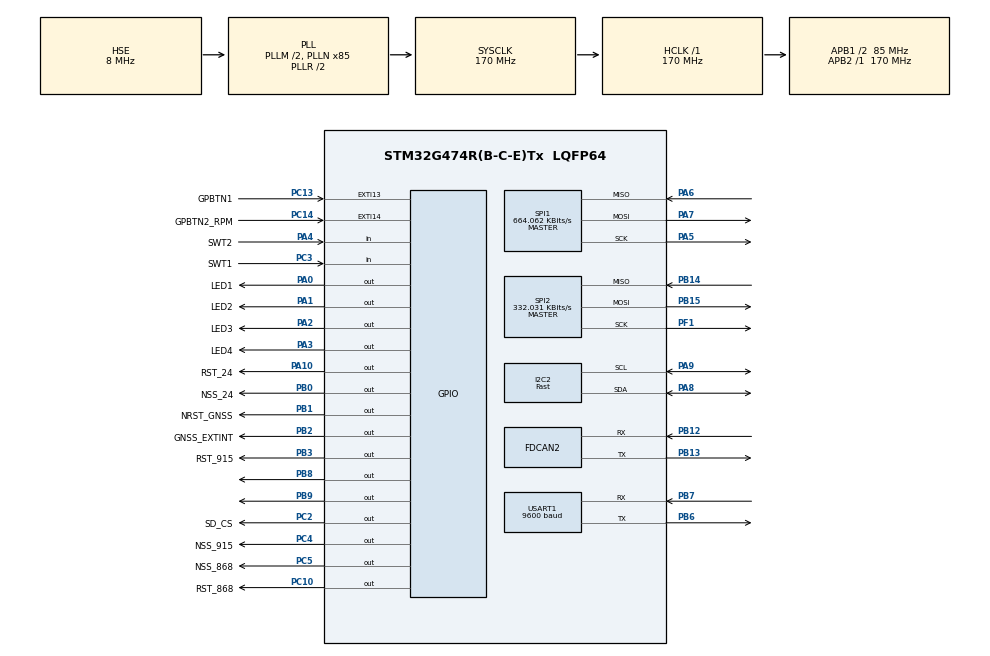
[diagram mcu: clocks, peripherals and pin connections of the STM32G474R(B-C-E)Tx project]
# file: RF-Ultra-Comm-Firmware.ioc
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FDCAN2.CalculateBaudRateNominal=1000000
FDCAN2.CalculateTimeBitNominal=1000
FDCAN2.CalculateTimeQuantumNominal=125.0
FDCAN2.DataTimeSeg2=2
FDCAN2.FrameFormat=FDCAN_FRAME_CLASSIC
FDCAN2.Mode=FDCAN_MODE_NORMAL
FDCAN2.NominalPrescaler=1
FDCAN2.NominalSyncJumpWidth=2
FDCAN2.NominalTimeSeg1=5
FDCAN2.NominalTimeSeg2=2
FDCAN2.StdFiltersNbr=1
FREERTOS.Queues01=canQueRxHeader,512,uint32_t,0,Static,canQueRxHeaderBuffer,canQueRxHeaderControlBlock;canQueRxData,1024,uint8_t,0,Static,canQueRxDataBuffer,canQueRxDataControlBlock
FREERTOS.Tasks01=defaultTask,24,512,StartDefaultTask,As weak,NULL,Static,defaultTaskBuffer,defaultTaskControlBlock;telemetryTransm,25,2048,StartTelemetryTransmitTask,As weak,NULL,Static,telemetryTransmBuffer,telemetryTransmControlBlock;auxilary,8,1024,StartAuxilaryTask,As weak,NULL,Static,auxilaryBuffer,auxilaryControlBlock;CANSend,27,512,StartCanSend,As weak,NULL,Static,CANSendBuffer,CANSendControlBlock;CANReceive,32,512,StartCanReceive,As weak,NULL,Static,CANReceiveBuffer,CANReceiveControlBlock
FREERTOS.configENABLE_FPU=1
FREERTOS.configTOTAL_HEAP_SIZE=10000
I2C2.I2C_Speed_Mode=I2C_Fast
I2C2.Speed=100
I2C2.Timing=0x108199FF
Mcu.Family=STM32G4
Mcu.Name=STM32G474R(B-C-E)Tx
Mcu.Package=LQFP64
NVIC.EXTI15_10_IRQn=true\:5\:0\:false\:false\:true\:true\:true\:true\:true
NVIC.FDCAN2_IT0_IRQn=true\:5\:0\:false\:false\:true\:true\:true\:true\:true
NVIC.FDCAN2_IT1_IRQn=true\:5\:0\:false\:false\:true\:true\:true\:true\:true
NVIC.PriorityGroup=NVIC_PRIORITYGROUP_4
NVIC.TIM20_UP_IRQn=true\:15\:0\:false\:false\:true\:false\:false\:true\:true
NVIC.TimeBase=TIM20_UP_IRQn
NVIC.TimeBaseIP=TIM20
PA0.GPIO_Label=LED1
PA0.Signal=GPIO_Output
PA1.GPIO_Label=LED2
PA1.Signal=GPIO_Output
PA10.GPIO_Label=RST_24
PA10.Signal=GPIO_Output
PA13.Mode=Serial_Wire
PA13.Signal=SYS_JTMS-SWDIO
PA14.Mode=Serial_Wire
PA14.Signal=SYS_JTCK-SWCLK
PA2.GPIO_Label=LED3
PA2.Signal=GPIO_Output
PA3.GPIO_Label=LED4
PA3.Signal=GPIO_Output
PA4.GPIO_Label=SWT2
PA4.GPIO_PuPd=GPIO_PULLDOWN
PA4.Signal=GPIO_Input
PA5.Mode=Full_Duplex_Master
PA5.Signal=SPI1_SCK
PA6.Mode=Full_Duplex_Master
PA6.Signal=SPI1_MISO
PA7.Mode=Full_Duplex_Master
PA7.Signal=SPI1_MOSI
PA8.GPIO_Pu=GPIO_PULLUP
PA8.GPIO_Speed=GPIO_SPEED_FREQ_HIGH
PA8.Mode=I2C
PA8.Signal=I2C2_SDA
PA9.GPIO_Pu=GPIO_PULLUP
PA9.GPIO_Speed=GPIO_SPEED_FREQ_HIGH
PA9.Mode=I2C
PA9.Signal=I2C2_SCL
PB0.GPIO_Label=NSS_24
PB0.Signal=GPIO_Output
PB1.GPIO_Label=NRST_GNSS
PB1.Signal=GPIO_Output
PB12.GPIO_PuPd=GPIO_PULLUP
PB12.Mode=FDCAN_Activate
PB12.Signal=FDCAN2_RX
PB13.Mode=FDCAN_Activate
PB13.Signal=FDCAN2_TX
PB14.GPIO_PuPd=GPIO_PULLUP
PB14.GPIO_Speed=GPIO_SPEED_FREQ_VERY_HIGH
PB14.Mode=Full_Duplex_Master
PB14.Signal=SPI2_MISO
PB15.GPIO_PuPd=GPIO_PULLUP
PB15.GPIO_Speed=GPIO_SPEED_FREQ_VERY_HIGH
PB15.Mode=Full_Duplex_Master
PB15.Signal=SPI2_MOSI
PB2.GPIO_Label=GNSS_EXTINT
PB2.Signal=GPIO_Output
PB3.GPIO_Label=RST_915
PB3.Signal=GPIO_Output
PB6.Mode=Asynchronous
PB6.Signal=USART1_TX
PB7.Mode=Asynchronous
PB7.Signal=USART1_RX
PB8-BOOT0.Signal=GPIO_Output
PB9.Signal=GPIO_Output
PC10.GPIO_Label=RST_868
PC10.Signal=GPIO_Output
PC13.GPIO_Label=GPBTN1
PC13.GPIO_ModeDefaultEXTI=GPIO_MODE_IT_FALLING
PC13.GPIO_PuPd=GPIO_PULLUP
PC13.Signal=GPXTI13
PC14-OSC32_IN.GPIO_Label=GPBTN2_RPM
PC14-OSC32_IN.GPIO_ModeDefaultEXTI=GPIO_MODE_IT_RISING_FALLING
PC14-OSC32_IN.GPIO_PuPd=GPIO_NOPULL
PC14-OSC32_IN.Signal=GPXTI14
PC2.GPIO_Label=SD_CS
PC2.GPIO_PuPd=GPIO_PULLUP
PC2.PinState=GPIO_PIN_SET
PC2.Signal=GPIO_Output
PC3.GPIO_Label=SWT1
PC3.GPIO_PuPd=GPIO_PULLDOWN
PC3.Signal=GPIO_Input
PC4.GPIO_Label=NSS_915
PC4.Signal=GPIO_Output
PC5.GPIO_Label=NSS_868
PC5.Signal=GPIO_Output
PF0-OSC_IN.Mode=HSE-External-Clock-Source
PF0-OSC_IN.Signal=RCC_OSC_IN
PF1-OSC_OUT.GPIO_PuPd=GPIO_PULLUP
PF1-OSC_OUT.GPIO_Speed=GPIO_SPEED_FREQ_VERY_HIGH
PF1-OSC_OUT.Mode=Full_Duplex_Master
PF1-OSC_OUT.Signal=SPI2_SCK
ProjectManager.HeapSize=0x200
ProjectManager.StackSize=0x400
ProjectManager.TargetToolchain=STM32CubeIDE
RCC.ADC12Freq_Value=170000000
RCC.ADC345Freq_Value=170000000
RCC.AHBFreq_Value=170000000
RCC.APB1CLKDivider=RCC_HCLK_DIV2
RCC.APB1Freq_Value=85000000
RCC.APB1TimFreq_Value=170000000
RCC.APB2Freq_Value=170000000
RCC.APB2TimFreq_Value=170000000
RCC.CortexFreq_Value=170000000
RCC.EXTERNAL_CLOCK_VALUE=12288000
RCC.FDCANCLockSelection=RCC_FDCANCLKSOURCE_HSE
RCC.HCLKFreq_Value=170000000
RCC.HSE_VALUE=8000000
RCC.HSI48_VALUE=48000000
RCC.HSI_VALUE=16000000
RCC.LSE_VALUE=32768
RCC.PLLM=RCC_PLLM_DIV2
RCC.PLLN=85
RCC.PLLSourceVirtual=RCC_PLLSOURCE_HSE
RCC.SYSCLKFreq_VALUE=170000000
RCC.SYSCLKSource=RCC_SYSCLKSOURCE_PLLCLK
RCC.USBFreq_Value=170000000
RCC.VCOOutputFreq_Value=340000000
SPI1.BaudRatePrescaler=SPI_BAUDRATEPRESCALER_256
SPI1.CalculateBaudRate=664.062 KBits/s
SPI1.DataSize=SPI_DATASIZE_8BIT
SPI1.Direction=SPI_DIRECTION_2LINES
SPI1.Mode=SPI_MODE_MASTER
SPI1.VirtualType=VM_MASTER
SPI2.BaudRatePrescaler=SPI_BAUDRATEPRESCALER_256
SPI2.CalculateBaudRate=332.031 KBits/s
SPI2.DataSize=SPI_DATASIZE_8BIT
SPI2.Direction=SPI_DIRECTION_2LINES
SPI2.Mode=SPI_MODE_MASTER
SPI2.VirtualType=VM_MASTER
USART1.AutoBaudRateEnableParam=UART_ADVFEATURE_AUTOBAUDRATE_DISABLE
USART1.BaudRate=9600
USART1.DMADisableonRxErrorParam=ADVFEATURE_DMA_DISABLEONRXERROR
USART1.FIFOMode=FIFOMODE_ENABLE
USART1.Mode=MODE_TX_RX
USART1.OverrunDisableParam=ADVFEATURE_OVERRUN_DISABLE
USART1.SwapParam=ADVFEATURE_SWAP_DISABLE
USART1.VirtualMode-Asynchronous=VM_ASYNC
VP_CRC_VS_CRC.Mode=CRC_Activate
VP_FATFS_VS_Generic.Mode=User_defined
VP_FREERTOS_VS_CMSIS_V2.Mode=CMSIS_V2
VP_SYS_VS_DBSignals.Mode=DisableDeadBatterySignals
VP_SYS_VS_tim20.Mode=TIM20
board=custom

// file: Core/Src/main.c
/* USER CODE BEGIN Header */
/**
 ******************************************************************************
 * @file           : main.c
 * @brief          : Main program body
 ******************************************************************************
 * @attention
 *
 * Copyright (c) 2025 STMicroelectronics.
 * All rights reserved.
 *
 * This software is licensed under terms that can be found in the LICENSE file
 * in the root directory of this software component.
 * If no LICENSE file comes with this software, it is provided AS-IS.
 *
 ******************************************************************************
 */
/* USER CODE END Header */
#include "main.h"
#include "cmsis_os.h"
#include "crc.h"
#include "app_fatfs.h"
#include "fdcan.h"
#include "i2c.h"
#include "spi.h"
#include "usart.h"
#include "gpio.h"

/* USER CODE BEGIN PD */
#define MAGNETS_ON_WHEEL 4
/* USER CODE END PD */

/* USER CODE BEGIN PV */
extern wheel_rpm;
/* USER CODE END PV */

void SystemClock_Config(void);
void MX_FREERTOS_Init(void);
/* USER CODE BEGIN PFP */
void HAL_GPIO_EXTI_Callback(uint16_t GPIO_Pin) {

	switch (GPIO_Pin) {
	case GPBTN2_RPM_Pin:
		static double uptime = 0, downtime = 0, frequency = 0, period = 0;
		static double rise1 = 0, fall1 = 0;
		if (GPIO_PIN_SET
				== HAL_GPIO_ReadPin(GPBTN2_RPM_GPIO_Port, GPBTN2_RPM_Pin)) {
			rise1 = HAL_GetTick();
			downtime = fall1 - rise1;
		} else {
			fall1 = HAL_GetTick();
			uptime = rise1 - fall1;
		}

		period = uptime + downtime;
		frequency = 1 / period;

		wheel_rpm = frequency / MAGNETS_ON_WHEEL * 60;

		break;
	case GPBTN1_Pin:
		NVIC_SystemReset();
		break;
	default:
		break;
	}

}
/* USER CODE END PFP */

/* USER CODE BEGIN 0 */
int _write(int fd, char *ptr, int len) {
	(void) fd;
	HAL_UART_Transmit(&huart1, ptr, len, HAL_MAX_DELAY);
	return len;
}
//void __io_putchar(int ch) {
//	HAL_UART_Transmit(&huart1, (uint8_t*) &ch, 1, 0);
//}

/* USER CODE END 0 */

int main(void)
{

  /* MCU Configuration--------------------------------------------------------*/

  /* Reset of all peripherals, Initializes the Flash interface and the Systick. */
  HAL_Init();

  /* Configure the system clock */
  SystemClock_Config();

  /* Initialize all configured peripherals */
  MX_GPIO_Init();
  MX_FDCAN2_Init();
  MX_I2C2_Init();
  MX_SPI1_Init();
  MX_SPI2_Init();
  MX_USART1_UART_Init();
  if (MX_FATFS_Init() != APP_OK) {
    Error_Handler();
  }
  MX_CRC_Init();

  /* Init scheduler */
  osKernelInitialize();  /* Call init function for freertos objects (in cmsis_os2.c) */
  MX_FREERTOS_Init();

  /* Start scheduler */
  osKernelStart();

  /* We should never get here as control is now taken by the scheduler */

  /* Infinite loop */
	while (1) {

	}
}

void SystemClock_Config(void)
{
  RCC_OscInitTypeDef RCC_OscInitStruct = {0};
  RCC_ClkInitTypeDef RCC_ClkInitStruct = {0};

  /** Configure the main internal regulator output voltage
  */
  HAL_PWREx_ControlVoltageScaling(PWR_REGULATOR_VOLTAGE_SCALE1_BOOST);

  /** Initializes the RCC Oscillators according to the specified parameters
  * in the RCC_OscInitTypeDef structure.
  */
  RCC_OscInitStruct.OscillatorType = RCC_OSCILLATORTYPE_HSE;
  RCC_OscInitStruct.HSEState = RCC_HSE_BYPASS;
  RCC_OscInitStruct.PLL.PLLState = RCC_PLL_ON;
  RCC_OscInitStruct.PLL.PLLSource = RCC_PLLSOURCE_HSE;
  RCC_OscInitStruct.PLL.PLLM = RCC_PLLM_DIV2;
  RCC_OscInitStruct.PLL.PLLN = 85;
  RCC_OscInitStruct.PLL.PLLP = RCC_PLLP_DIV2;
  RCC_OscInitStruct.PLL.PLLQ = RCC_PLLQ_DIV2;
  RCC_OscInitStruct.PLL.PLLR = RCC_PLLR_DIV2;
  if (HAL_RCC_OscConfig(&RCC_OscInitStruct) != HAL_OK)
  {
    Error_Handler();
  }

  /** Initializes the CPU, AHB and APB buses clocks
  */
  RCC_ClkInitStruct.ClockType = RCC_CLOCKTYPE_HCLK|RCC_CLOCKTYPE_SYSCLK
                              |RCC_CLOCKTYPE_PCLK1|RCC_CLOCKTYPE_PCLK2;
  RCC_ClkInitStruct.SYSCLKSource = RCC_SYSCLKSOURCE_PLLCLK;
  RCC_ClkInitStruct.AHBCLKDivider = RCC_SYSCLK_DIV1;
  RCC_ClkInitStruct.APB1CLKDivider = RCC_HCLK_DIV2;
  RCC_ClkInitStruct.APB2CLKDivider = RCC_HCLK_DIV1;

  if (HAL_RCC_ClockConfig(&RCC_ClkInitStruct, FLASH_LATENCY_4) != HAL_OK)
  {
    Error_Handler();
  }
}

void HAL_TIM_PeriodElapsedCallback(TIM_HandleTypeDef *htim)
{
  if (htim->Instance == TIM20)
  {
    HAL_IncTick();
  }
}

void Error_Handler(void)
{
	__disable_irq();
	while (1) {
	}
}

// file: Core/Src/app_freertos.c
/* USER CODE BEGIN Header */
/**
  ******************************************************************************
  * File Name          : app_freertos.c
  * Description        : Code for freertos applications
  ******************************************************************************
  * @attention
  *
  * Copyright (c) 2025 STMicroelectronics.
  * All rights reserved.
  *
  * This software is licensed under terms that can be found in the LICENSE file
  * in the root directory of this software component.
  * If no LICENSE file comes with this software, it is provided AS-IS.
  *
  ******************************************************************************
  */
/* USER CODE END Header */

#include "FreeRTOS.h"
#include "task.h"
#include "main.h"
#include "cmsis_os.h"

typedef StaticTask_t osStaticThreadDef_t;
typedef StaticQueue_t osStaticMessageQDef_t;

/* Definitions for defaultTask */
osThreadId_t defaultTaskHandle;
uint32_t defaultTaskBuffer[ 512 ];
osStaticThreadDef_t defaultTaskControlBlock;
const osThreadAttr_t defaultTask_attributes = {
  .name = "defaultTask",
  .stack_mem = &defaultTaskBuffer[0],
  .stack_size = sizeof(defaultTaskBuffer),
  .cb_mem = &defaultTaskControlBlock,
  .cb_size = sizeof(defaultTaskControlBlock),
  .priority = (osPriority_t) osPriorityNormal,
};
/* Definitions for telemetryTransm */
osThreadId_t telemetryTransmHandle;
uint32_t telemetryTransmBuffer[ 2048 ];
osStaticThreadDef_t telemetryTransmControlBlock;
const osThreadAttr_t telemetryTransm_attributes = {
  .name = "telemetryTransm",
  .stack_mem = &telemetryTransmBuffer[0],
  .stack_size = sizeof(telemetryTransmBuffer),
  .cb_mem = &telemetryTransmControlBlock,
  .cb_size = sizeof(telemetryTransmControlBlock),
  .priority = (osPriority_t) osPriorityNormal1,
};
/* Definitions for auxilary */
osThreadId_t auxilaryHandle;
uint32_t auxilaryBuffer[ 512 ];
osStaticThreadDef_t auxilaryControlBlock;
const osThreadAttr_t auxilary_attributes = {
  .name = "auxilary",
  .stack_mem = &auxilaryBuffer[0],
  .stack_size = sizeof(auxilaryBuffer),
  .cb_mem = &auxilaryControlBlock,
  .cb_size = sizeof(auxilaryControlBlock),
  .priority = (osPriority_t) osPriorityLow,
};
/* Definitions for CANSend */
osThreadId_t CANSendHandle;
uint32_t CANSendBuffer[ 512 ];
osStaticThreadDef_t CANSendControlBlock;
const osThreadAttr_t CANSend_attributes = {
  .name = "CANSend",
  .stack_mem = &CANSendBuffer[0],
  .stack_size = sizeof(CANSendBuffer),
  .cb_mem = &CANSendControlBlock,
  .cb_size = sizeof(CANSendControlBlock),
  .priority = (osPriority_t) osPriorityNormal3,
};
/* Definitions for CANReceive */
osThreadId_t CANReceiveHandle;
uint32_t CANReceiveBuffer[ 512 ];
osStaticThreadDef_t CANReceiveControlBlock;
const osThreadAttr_t CANReceive_attributes = {
  .name = "CANReceive",
  .stack_mem = &CANReceiveBuffer[0],
  .stack_size = sizeof(CANReceiveBuffer),
  .cb_mem = &CANReceiveControlBlock,
  .cb_size = sizeof(CANReceiveControlBlock),
  .priority = (osPriority_t) osPriorityAboveNormal,
};
/* Definitions for canQueRxHeader */
osMessageQueueId_t canQueRxHeaderHandle;
uint8_t canQueRxHeaderBuffer[ 512 * sizeof( uint32_t ) ];
osStaticMessageQDef_t canQueRxHeaderControlBlock;
const osMessageQueueAttr_t canQueRxHeader_attributes = {
  .name = "canQueRxHeader",
  .cb_mem = &canQueRxHeaderControlBlock,
  .cb_size = sizeof(canQueRxHeaderControlBlock),
  .mq_mem = &canQueRxHeaderBuffer,
  .mq_size = sizeof(canQueRxHeaderBuffer)
};
/* Definitions for canQueRxData */
osMessageQueueId_t canQueRxDataHandle;
uint8_t canQueRxDataBuffer[ 1024 * sizeof( uint8_t ) ];
osStaticMessageQDef_t canQueRxDataControlBlock;
const osMessageQueueAttr_t canQueRxData_attributes = {
  .name = "canQueRxData",
  .cb_mem = &canQueRxDataControlBlock,
  .cb_size = sizeof(canQueRxDataControlBlock),
  .mq_mem = &canQueRxDataBuffer,
  .mq_size = sizeof(canQueRxDataBuffer)
};

void StartDefaultTask(void *argument);
void StartTelemetryTransmitTask(void *argument);
void StartAuxilaryTask(void *argument);
void StartCanSend(void *argument);
void StartCanReceive(void *argument);

void MX_FREERTOS_Init(void); /* (MISRA C 2004 rule 8.1) */

void MX_FREERTOS_Init(void) {

  /* Create the queue(s) */
  /* creation of canQueRxHeader */
  canQueRxHeaderHandle = osMessageQueueNew (512, sizeof(uint32_t), &canQueRxHeader_attributes);

  /* creation of canQueRxData */
  canQueRxDataHandle = osMessageQueueNew (1024, sizeof(uint8_t), &canQueRxData_attributes);

  /* Create the thread(s) */
  /* creation of defaultTask */
  defaultTaskHandle = osThreadNew(StartDefaultTask, NULL, &defaultTask_attributes);

  /* creation of telemetryTransm */
  telemetryTransmHandle = osThreadNew(StartTelemetryTransmitTask, NULL, &telemetryTransm_attributes);

  /* creation of auxilary */
  auxilaryHandle = osThreadNew(StartAuxilaryTask, NULL, &auxilary_attributes);

  /* creation of CANSend */
  CANSendHandle = osThreadNew(StartCanSend, NULL, &CANSend_attributes);

  /* creation of CANReceive */
  CANReceiveHandle = osThreadNew(StartCanReceive, NULL, &CANReceive_attributes);

}

__weak void StartDefaultTask(void *argument)
{
  for(;;)
  {
    osDelay(1);
  }
}

__weak void StartTelemetryTransmitTask(void *argument)
{
  for(;;)
  {
    osDelay(1);
  }
}

__weak void StartAuxilaryTask(void *argument)
{
  for(;;)
  {
    osDelay(1);
  }
}

__weak void StartCanSend(void *argument)
{
  for(;;)
  {
    osDelay(1);
  }
}

__weak void StartCanReceive(void *argument)
{
  for(;;)
  {
    osDelay(1);
  }
}
